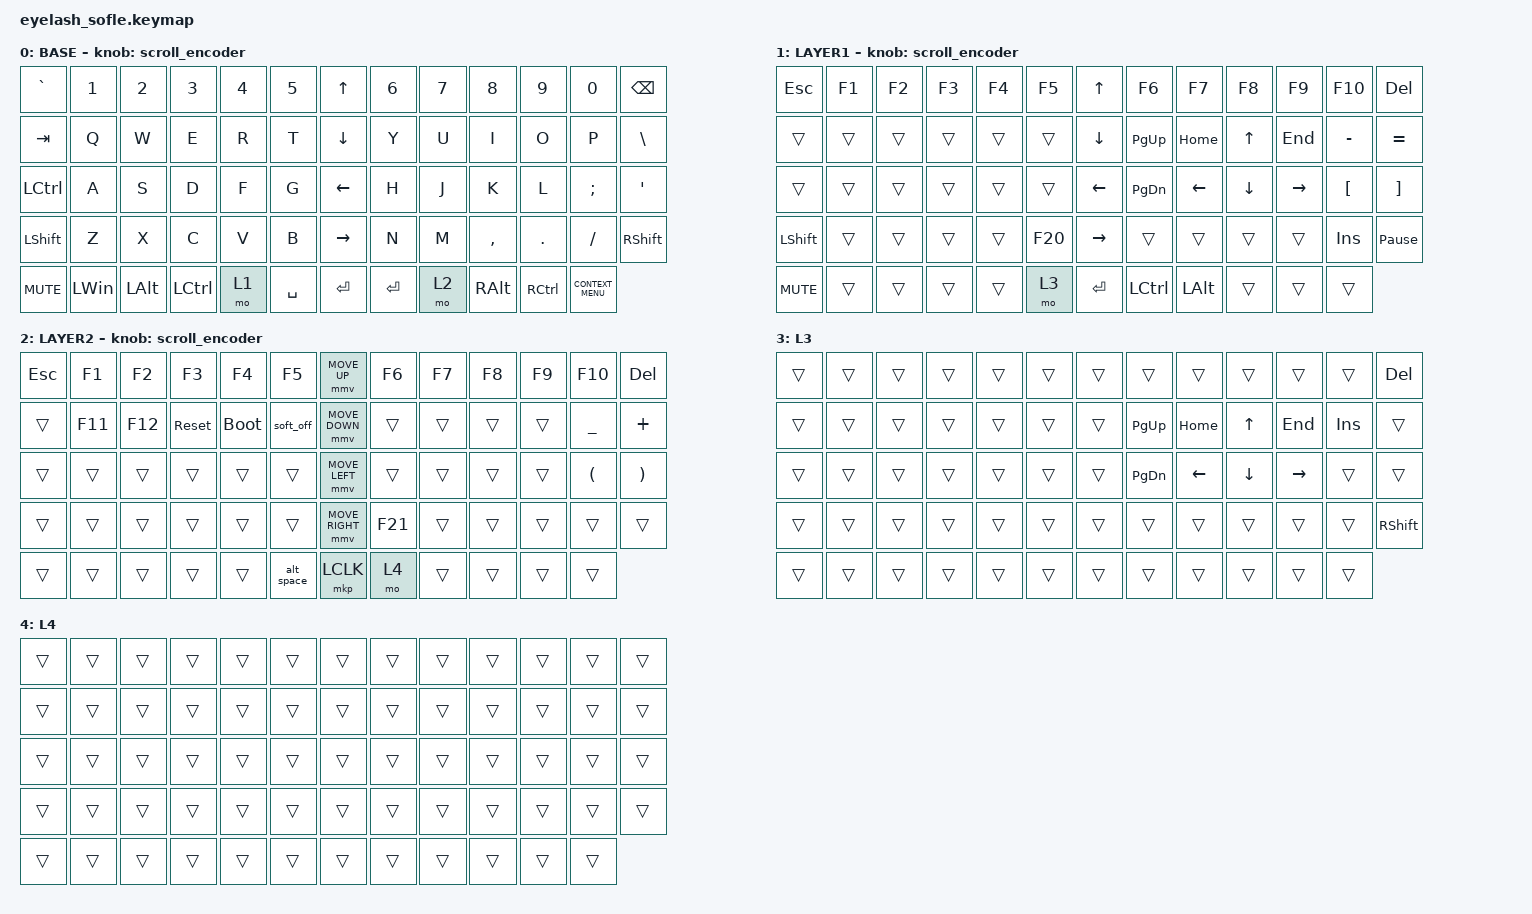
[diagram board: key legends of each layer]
#define ZMK_POINTING_DEFAULT_MOVE_VAL 1200  // 600
#define ZMK_POINTING_DEFAULT_SCRL_VAL 25   // 10

#include <input/processors.dtsi>
#include <zephyr/dt-bindings/input/input-event-codes.h>
#include <behaviors.dtsi>
#include <dt-bindings/zmk/keys.h>
#include <dt-bindings/zmk/pointing.h>

&mmv_input_listener { input-processors = <&zip_xy_scaler 2 1>; };

&msc_input_listener { input-processors = <&zip_scroll_scaler 2 1>; };

&msc {
    acceleration-exponent = <1>;      // 0
    time-to-max-speed-ms = <100>;       // 300
    delay-ms = <0>;                   // 0
};

&mmv {
    time-to-max-speed-ms = <500>;
    acceleration-exponent = <1>;
    trigger-period-ms = <16>;
};

&soft_off { hold-time-ms = <2000>; };

/ {
    scroll_encoder: scroll_encoder {
        compatible = "zmk,behavior-sensor-rotate";
        #sensor-binding-cells = <0>;
        bindings = <&msc SCRL_DOWN>, <&msc SCRL_UP>;

        tap-ms = <100>;
    };

    behaviors {
    };

    combos {
        compatible = "zmk,combos";

        softoff {
            bindings = <&soft_off>;
            key-positions = <14 28 40>;
        };
    };

    macros {
        alt_space: alt_space {
            compatible = "zmk,behavior-macro";
            #binding-cells = <0>;
            bindings =
                <&macro_press>,
                <&kp LEFT_ALT>,
                <&macro_tap>,
                <&kp SPACE>,
                <&macro_release>,
                <&kp LEFT_ALT>;

            label = "ALT_SPACE";
        };
    };

    keymap {
        compatible = "zmk,keymap";

        BASE {
            bindings = <
&kp GRAVE       &kp N1        &kp N2        &kp N3     &kp N4  &kp N5       &kp UP_ARROW     &kp N6     &kp N7  &kp N8         &kp N9     &kp N0              &kp BACKSPACE
&kp TAB         &kp Q         &kp W         &kp E      &kp R   &kp T        &kp DOWN_ARROW   &kp Y      &kp U   &kp I          &kp O      &kp P               &kp BSLH
&kp LCTRL       &kp A         &kp S         &kp D      &kp F   &kp G        &kp LEFT_ARROW   &kp H      &kp J   &kp K          &kp L      &kp SEMI            &kp APOS
&kp LEFT_SHIFT  &kp Z         &kp X         &kp C      &kp V   &kp B        &kp RIGHT_ARROW  &kp N      &kp M   &kp COMMA      &kp DOT    &kp FSLH            &kp RIGHT_SHIFT
&kp C_MUTE      &kp LEFT_WIN  &kp LEFT_ALT  &kp LCTRL  &mo 1   &kp SPACE    &kp ENTER        &kp ENTER  &mo 2   &kp RIGHT_ALT  &kp RCTRL  &kp K_CONTEXT_MENU
            >;

            sensor-bindings = <&scroll_encoder>;
            display-name = "BASE";
        };

        L1 {
            bindings = <
&kp ESCAPE  &kp F1  &kp F2  &kp F3  &kp F4  &kp F5     &kp UP     &kp F6     &kp F7        &kp F8    &kp F9     &kp F10           &kp DELETE
&trans      &trans  &trans  &trans  &trans  &trans     &kp DOWN   &kp PG_UP  &kp HOME      &kp UP    &kp END    &kp MINUS         &kp EQUAL
&trans      &trans  &trans  &trans  &trans  &trans     &kp LEFT   &kp PG_DN  &kp LEFT      &kp DOWN  &kp RIGHT  &kp LEFT_BRACKET  &kp RIGHT_BRACKET
&kp LSHFT   &trans  &trans  &trans  &trans  &kp F20    &kp RIGHT  &trans     &trans        &trans    &trans     &kp INSERT        &kp PAUSE_BREAK
&kp C_MUTE  &trans  &trans  &trans  &trans  &mo 3      &kp ENTER  &kp LCTRL  &kp LEFT_ALT  &trans    &trans     &trans
            >;

            display-name = "LAYER1";
            sensor-bindings = <&scroll_encoder>;
            label = "L1";
        };

        L2 {
            bindings = <
&kp ESCAPE  &kp F1   &kp F2   &kp F3      &kp F4       &kp F5        &mmv MOVE_UP     &kp F6   &kp F7  &kp F8  &kp F9  &kp F10               &kp DELETE
&trans      &kp F11  &kp F12  &sys_reset  &bootloader  &soft_off     &mmv MOVE_DOWN   &trans   &trans  &trans  &trans  &kp UNDER             &kp PLUS
&trans      &trans   &trans   &trans      &trans       &trans        &mmv MOVE_LEFT   &trans   &trans  &trans  &trans  &kp LEFT_PARENTHESIS  &kp RIGHT_PARENTHESIS
&trans      &trans   &trans   &trans      &trans       &trans        &mmv MOVE_RIGHT  &kp F21  &trans  &trans  &trans  &trans                &trans
&trans      &trans   &trans   &trans      &trans       &alt_space    &mkp LCLK        &mo 4    &trans  &trans  &trans  &trans
            >;

            display-name = "LAYER2";
            sensor-bindings = <&scroll_encoder>;
            label = "L2";
        };

        L3 {
            bindings = <
&trans  &trans  &trans  &trans  &trans  &trans    &trans  &trans     &trans    &trans    &trans     &trans      &kp DEL
&trans  &trans  &trans  &trans  &trans  &trans    &trans  &kp PG_UP  &kp HOME  &kp UP    &kp END    &kp INSERT  &trans
&trans  &trans  &trans  &trans  &trans  &trans    &trans  &kp PG_DN  &kp LEFT  &kp DOWN  &kp RIGHT  &trans      &trans
&trans  &trans  &trans  &trans  &trans  &trans    &trans  &trans     &trans    &trans    &trans     &trans      &kp RIGHT_SHIFT
&trans  &trans  &trans  &trans  &trans  &trans    &trans  &trans     &trans    &trans    &trans     &trans
            >;

            label = "L3";
        };

        L4 {
            bindings = <
&trans  &trans  &trans  &trans  &trans  &trans    &trans  &trans  &trans  &trans  &trans  &trans  &trans
&trans  &trans  &trans  &trans  &trans  &trans    &trans  &trans  &trans  &trans  &trans  &trans  &trans
&trans  &trans  &trans  &trans  &trans  &trans    &trans  &trans  &trans  &trans  &trans  &trans  &trans
&trans  &trans  &trans  &trans  &trans  &trans    &trans  &trans  &trans  &trans  &trans  &trans  &trans
&trans  &trans  &trans  &trans  &trans  &trans    &trans  &trans  &trans  &trans  &trans  &trans
            >;

            label = "L4";
        };
    };
};
